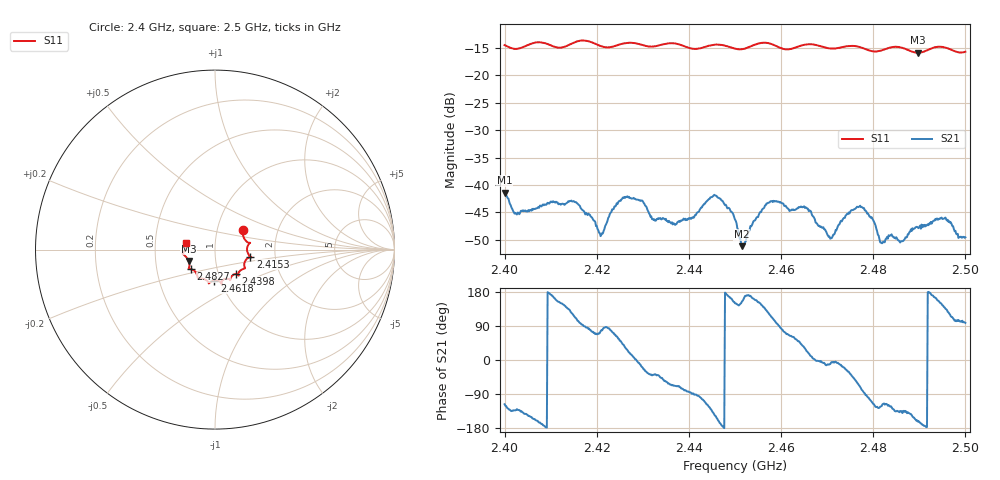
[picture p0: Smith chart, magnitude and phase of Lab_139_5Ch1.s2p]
# Hz S RI R 50
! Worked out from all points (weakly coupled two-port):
!   601 points, 2.4 GHz to 2.5 GHz, reference 50 ohm
!   highest |S21| = -41.38 dB at 2.4 GHz (marker M1); lowest = -51.2 dB at 2.4515 GHz (marker M2)
!   lowest |S11| = -15.9 dB at 2.4897 GHz (marker M3), VSWR 1.38, Z = 36.9 - j4.82 ohm
!   |S11| at or under -10 dB: start of sweep to end of sweep
!   S12 and S22 are empty: the file has one direction only
!   S11 on the Smith chart (normalised r, x): 2.4 GHz: 1.33, +0.29; 2.4153 GHz: 1.48, -0.12; 2.4398 GHz: 1.21, -0.34; 2.4618 GHz: 0.94, -0.33; 2.4827 GHz: 0.75, -0.17; 2.5 GHz: 0.72, +0.06
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2.4e9  0.1551 0.1065  -0.00385 -0.00761  0 0  0 0
2.402667e9  0.1618 0.0638  -0.00343 -0.00414  0 0  0 0
2.415333e9  0.1968 -0.0392  -0.0026 0.00646  0 0  0 0
2.416667e9  0.2026 -0.0432  -0.000398 0.00603  0 0  0 0
2.420833e9  0.177 -0.0521  0.000825 0.00331  0 0  0 0
2.426167e9  0.1671 -0.1023  0.00642 0.00414  0 0  0 0
2.433333e9  0.1298 -0.1337  0.0038 -0.0032  0 0  0 0
2.439833e9  0.1155 -0.1358  0.000603 -0.00488  0 0  0 0
2.4455e9  0.0839 -0.1699  -0.00656 -0.0048  0 0  0 0
2.45e9  0.0652 -0.1621  -0.00418 0.00244  0 0  0 0
2.4515e9  0.0493 -0.1655  -0.00249 0.0012  0 0  0 0
2.457333e9  0.0389 -0.1919  -0.00374 0.0058  0 0  0 0
2.461833e9  -0.00329 -0.1727  0.00249 0.00522  0 0  0 0
2.466667e9  -0.0346 -0.1882  0.00531 0.000822  0 0  0 0
2.470667e9  -0.0548 -0.1664  0.00318 -0.000598  0 0  0 0
2.4775e9  -0.0977 -0.149  0.00123 -0.00617  0 0  0 0
2.482667e9  -0.1351 -0.1087  -0.00141 -0.00288  0 0  0 0
2.483333e9  -0.1401 -0.1083  -0.00167 -0.00305  0 0  0 0
2.486167e9  -0.1455 -0.1032  -0.00216 -0.00218  0 0  0 0
2.489667e9  -0.1469 -0.0636  -0.00391 -0.00122  0 0  0 0
2.495167e9  -0.1795 -0.019  -0.00394 0.00293  0 0  0 0
2.5e9  -0.1591 0.0386  -0.000459 0.0033  0 0  0 0
